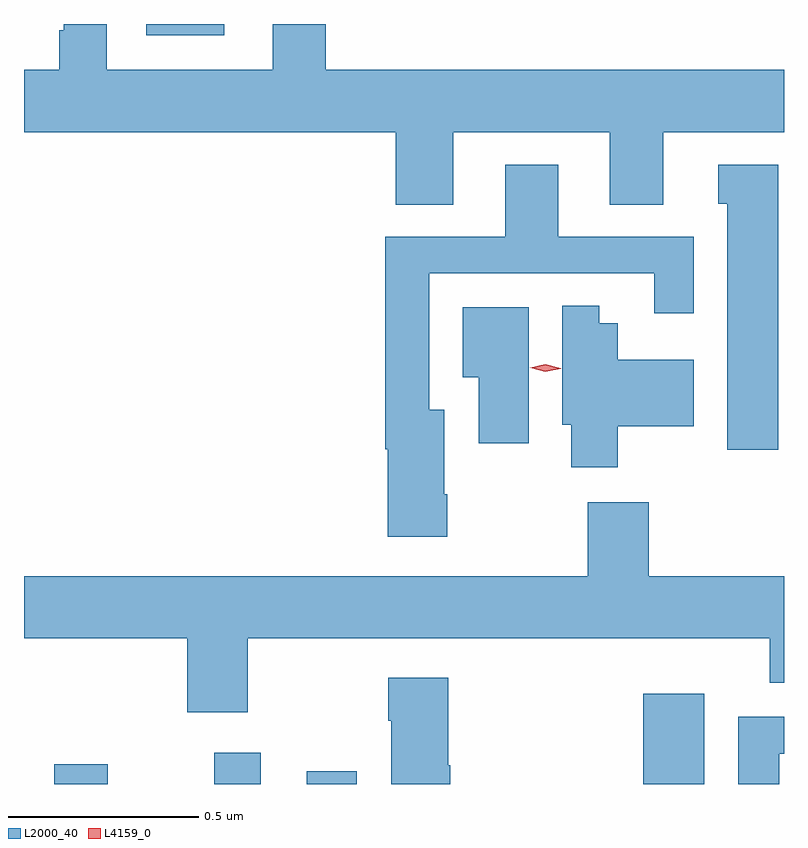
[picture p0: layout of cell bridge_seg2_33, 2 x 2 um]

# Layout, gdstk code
import gdstk
lib = gdstk.Library(unit=1e-6, precision=1e-09)
def R(c, l, rs):  # rectangles x0, y0, x1, y1
    for r in rs: c.add(gdstk.rectangle(r[:2], r[2:], *l))
def P(c, l, *ps):  # polygons
    for p in ps: c.add(gdstk.Polygon(p, *l))
L2000_40 = (2000, 40)
L4159_0 = (4159, 0)

bridge_seg2_33 = lib.new_cell('bridge_seg2_33')
R(bridge_seg2_33, L2000_40, [(769.861,607.293,770.002,607.345), (770.282,607.293,770.404,607.375), (770.525,607.293,770.656,607.327), (771.41,607.293,771.571,607.531), (770.103,609.263,770.308,609.293)])
P(bridge_seg2_33, L2000_40, [(770.911,609.008),(771.323,609.008),(771.323,608.818),(771.463,608.818),(771.463,609.008),(771.781,609.008),(771.781,609.172),(770.575,609.172),(770.575,609.293),(770.435,609.293),(770.435,609.172),(769.999,609.172),(769.999,609.293),(769.886,609.293),(769.886,609.276),(769.874,609.276),(769.874,609.172),(769.781,609.172),(769.781,609.008),(770.759,609.008),(770.759,608.818),(770.911,608.818)],
  [(771.766,608.923),(771.608,608.923),(771.608,608.82),(771.632,608.82),(771.632,608.172),(771.766,608.172)],
  [(770.895,608.056),(770.887,608.056),(770.887,608.278),(770.847,608.278),(770.847,608.637),(771.44,608.637),(771.44,608.532),(771.544,608.532),(771.544,608.733),(771.187,608.733),(771.187,608.923),(771.047,608.923),(771.047,608.733),(770.731,608.733),(770.731,608.174),(770.738,608.174),(770.738,607.944),(770.895,607.944)],
  [(771.343,608.234),(771.544,608.234),(771.544,608.41),(771.343,608.41),(771.343,608.506),(771.295,608.506),(771.295,608.552),(771.198,608.552),(771.198,608.238),(771.221,608.238),(771.221,608.126),(771.343,608.126)],
  [(771.109,608.548),(770.936,608.548),(770.936,608.363),(770.978,608.363),(770.978,608.19),(771.109,608.19)],
  [(770.37,607.676),(771.743,607.676),(771.743,607.559),(771.781,607.559),(771.781,607.84),(771.425,607.84),(771.425,608.035),(771.265,608.035),(771.265,607.84),(769.781,607.84),(769.781,607.676),(770.21,607.676),(770.21,607.482),(770.37,607.482)],
  [(770.903,607.342),(770.897,607.342),(770.897,607.573),(770.74,607.573),(770.74,607.46),(770.747,607.46),(770.747,607.293),(770.903,607.293)],
  [(771.769,607.373),(771.781,607.373),(771.781,607.47),(771.66,607.47),(771.66,607.293),(771.769,607.293)])
P(bridge_seg2_33, L4159_0, [(771.153,608.378),(771.113,608.388),(771.112,608.388),(771.113,608.388),(771.153,608.397),(771.194,608.387),(771.194,608.387),(771.194,608.386)])

lib.write_gds('bridge_seg2_33.gds')
